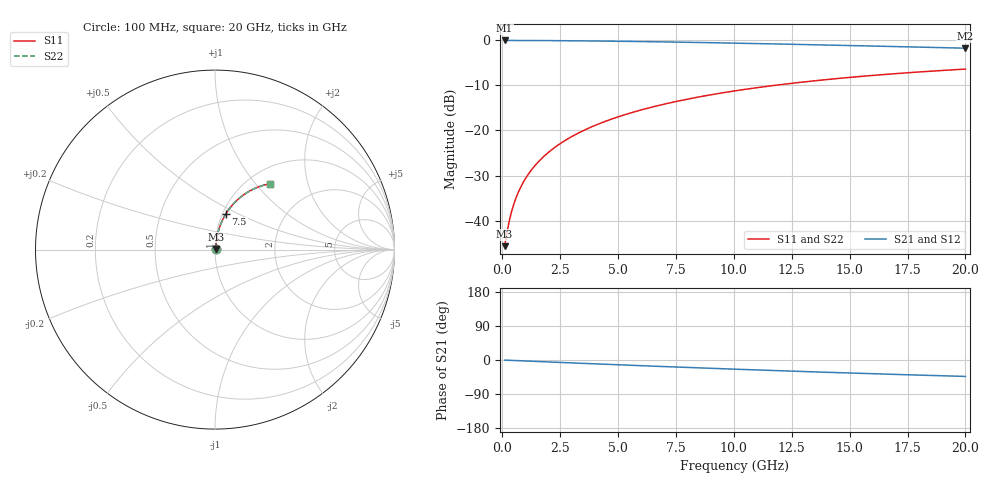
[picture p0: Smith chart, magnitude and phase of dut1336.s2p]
! Touchstone file exported from HFSS 2024.1.0
!  File:  C:/UserFiles/LocalFiles/RDL_TSV_Batchsim/temp_RDL_top_1336_1780365628.aedt
!  Generated:  10:02:54 AM Jun  2, 2026
!  Design:  RDL_top
!  Project:  temp_RDL_top_1336_1780365628
!  Setup:  Setup1
!  Solution:  Sweep
! Variables:
!  dtsv = 10.80580581um
!  hbump = 3um
!  htsv = 92.52um
!  ldown = 100um
!  lrdl = 551.44um
!  p = 40
!  p1 = 52.09um
!  rhole = 1um
!  t = 450um
!  tdown = 3.915915916um
!  trdl = 3.55um
!  wdown = 15.38538539um
!  wrdl = 13.1um
# GHz S MA R 50.000000
! Terminal data exported
! Port[1] = Box2_T1
! Port[2] = Box2_T2
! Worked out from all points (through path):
!   200 points, 100 MHz to 20 GHz, reference 50 ohm
!   highest |S21| = -0.04 dB at 100 MHz (marker M1); lowest = -1.8 dB at 20 GHz (marker M2)
!   group delay of S21, straight-line fit = 6.02 ps
!   lowest |S11| = -45.7 dB at 100 MHz (marker M3), VSWR 1.01, Z = 50.4 + j0.299 ohm
!   |S11| at or under -10 dB: start of sweep to 11.76 GHz
!   |S22| runs from -45.7 to -6.4 dB; largest |S21 - S12| = 3e-15
!   S11 on the Smith chart (normalised r, x): 100 MHz: 1.01, +0.01; 7.5 GHz: 1.04, +0.43; 20 GHz: 1.26, +1.20
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0.1  0.005208 34.7  0.9957 -0.3  0.9957 -0.3  0.005208 34.7
! Gamma 0 0 0 0
! Port Impedance 50 0 50 0
0.2  0.00735 53.5  0.9956 -0.5  0.9956 -0.5  0.00735 53.5
0.3  0.009902 62.9  0.9955 -0.8  0.9955 -0.8  0.009902 62.9
0.4  0.01259 68.2  0.9954 -1.1  0.9954 -1.1  0.01259 68.2
0.5  0.01533 71.6  0.9952 -1.3  0.9952 -1.3  0.01533 71.6
0.6  0.01809 73.9  0.995 -1.6  0.995 -1.6  0.01809 73.9
0.8  0.02364 76.8  0.9947 -2.1  0.9947 -2.1  0.02364 76.8
1.1  0.03203 79.0  0.9941 -2.8  0.9941 -2.8  0.03203 79.0
1.5  0.04327 80.4  0.9932 -3.9  0.9932 -3.9  0.04327 80.4
1.8  0.05172 80.8  0.9924 -4.6  0.9924 -4.6  0.05172 80.8
2.1  0.06019 80.9  0.9914 -5.4  0.9914 -5.4  0.06019 80.9
2.7  0.07711 80.7  0.9891 -6.9  0.9891 -6.9  0.07711 80.7
3.5  0.09963 79.9  0.9852 -8.9  0.9852 -8.9  0.09963 79.9
4.2  0.1192 78.9  0.9812 -10.7  0.9812 -10.7  0.1192 78.9
5  0.1415 77.6  0.9758 -12.6  0.9758 -12.6  0.1415 77.6
5.9  0.1662 76.0  0.969 -14.8  0.969 -14.8  0.1662 76.0
6.8  0.1906 74.3  0.9614 -16.9  0.9614 -16.9  0.1906 74.3
7.5  0.2093 73.0  0.9552 -18.5  0.9552 -18.5  0.2093 73.0
10.1  0.2762 68.0  0.9293 -24.3  0.9293 -24.3  0.2762 68.0
13.4  0.3535 61.6  0.893 -31.2  0.893 -31.2  0.3535 61.6
16.7  0.4214 55.6  0.8551 -37.5  0.8551 -37.5  0.4213 55.6
20  0.4795 50.0  0.8174 -43.4  0.8174 -43.4  0.4794 50.0
